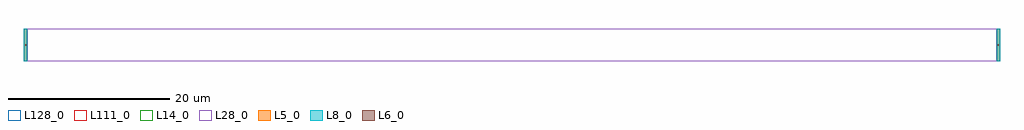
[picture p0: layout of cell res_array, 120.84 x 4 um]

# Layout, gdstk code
import gdstk
lib = gdstk.Library(unit=1e-6, precision=1e-09)
def R(c, l, rs):  # rectangles x0, y0, x1, y1
    for r in rs: c.add(gdstk.rectangle(r[:2], r[2:], *l))
L5_0 = (5, 0)
L6_0 = (6, 0)
L8_0 = (8, 0)
L14_0 = (14, 0)
L28_0 = (28, 0)
L111_0 = (111, 0)
L128_0 = (128, 0)

res_array = lib.new_cell('res_array')
R(res_array, L5_0, [(0,0,0.42,4), (120.42,0,120.84,4)])
R(res_array, L6_0, [(0.13,1.92,0.29,2.08), (120.55,1.92,120.71,2.08)])
R(res_array, L8_0, [(0,0,0.42,4), (120.42,0,120.84,4)])
R(res_array, L14_0, [(0.42,0,120.42,4)])
R(res_array, L28_0, [(0.42,0,120.42,4)])
R(res_array, L111_0, [(0.42,0,120.42,4)])
R(res_array, L128_0, [(0.42,0,120.42,4)])

lib.write_gds('res_array.gds')
